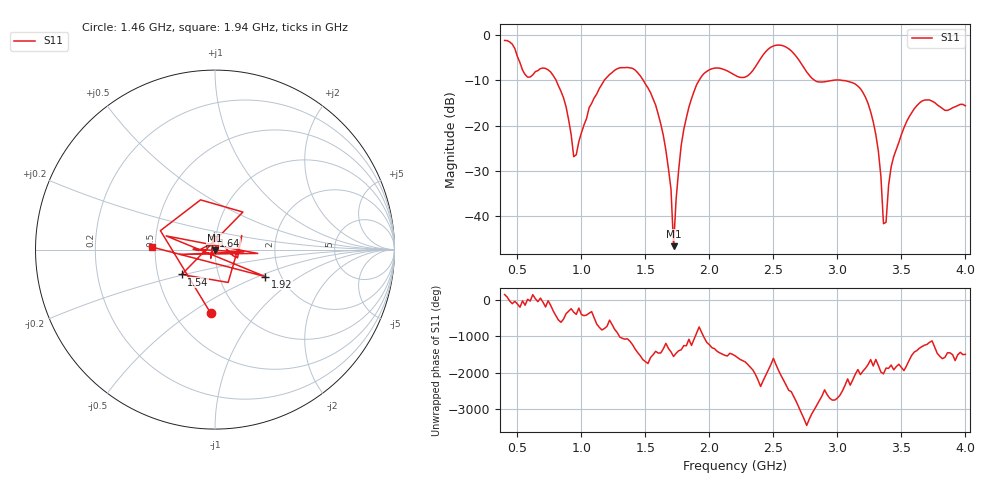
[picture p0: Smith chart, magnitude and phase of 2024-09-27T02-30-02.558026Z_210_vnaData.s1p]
!Created with skrf (http://scikit-rf.org).
# Hz S RI R 50.0
!freq ReS11 ImS11
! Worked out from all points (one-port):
!   181 points, 400 MHz to 4 GHz, reference 50 ohm
!   lowest |S11| = -46.6 dB at 1.72 GHz (marker M1), VSWR 1.01, Z = 49.8 - j0.424 ohm
!   |S11| at or under -10 dB: 802.4 MHz to 1.178 GHz (376 MHz wide, 38 % of centre); 1.483 GHz to 1.919 GHz (436.2 MHz wide, 25.6 % of centre); 3.034 GHz to end of sweep (the widest 3 of 4)
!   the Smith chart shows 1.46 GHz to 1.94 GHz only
!   S11 on the Smith chart (normalised r, x): 1.46 GHz: 0.74, -0.60; 1.54 GHz: 0.66, -0.19; 1.64 GHz: 0.97, +0.15; 1.92 GHz: 1.66, -0.55; 1.94 GHz: 0.48, +0.02
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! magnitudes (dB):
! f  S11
! 400 MHz  -1.2
! 580 MHz  -9.3
! 740 MHz  -7.7
! 860 MHz  -13.8
! 940 MHz  -26.8
! 1.1 GHz  -13.9
! 1.3 GHz  -7.2
! 1.46 GHz  -9.0
! 1.54 GHz  -12.7
! 1.64 GHz  -22.1
! 1.7 GHz  -34.0
! 1.72 GHz  -46.6
! 1.76 GHz  -29.7
! 1.82 GHz  -18.3
! 1.92 GHz  -10.0
! 1.94 GHz  -9.1
! 2.2 GHz  -8.9
! 2.5 GHz  -2.4
! 2.66 GHz  -4.1
! 2.84 GHz  -10.3
! 3.1 GHz  -10.4
! 3.28 GHz  -19.1
! 3.34 GHz  -31.2
! 3.36 GHz  -41.6
! 3.38 GHz  -41.3
! 3.42 GHz  -29.1
! 3.56 GHz  -18.1
! 4 GHz  -15.6
